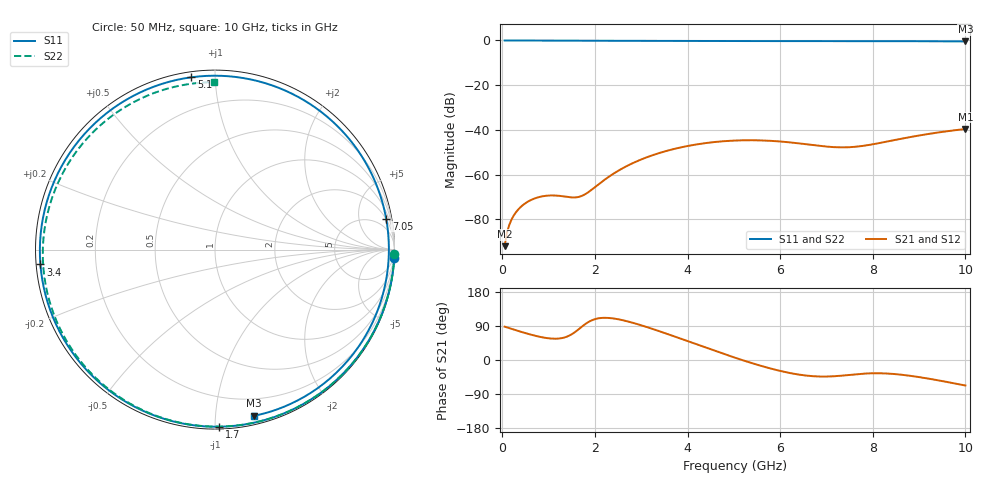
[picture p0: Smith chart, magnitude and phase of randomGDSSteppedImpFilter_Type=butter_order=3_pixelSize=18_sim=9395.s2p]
! freq	dB(S11)	phase(S11)	dB(S12)	phase(S12)
!  dB(S21)	phase(S21)	dB(S22)	phase(S22)
!S-par simulation data
#  GHz  S  DB  R 50
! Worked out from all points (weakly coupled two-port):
!   200 points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, 50 MHz to 10 GHz, reference 50 ohm
!   highest |S21| = -39.57 dB at 10 GHz (marker M1); lowest = -91.9 dB at 50 MHz (marker M2)
!   lowest |S11| = -0.4 dB at 10 GHz (marker M3), VSWR 40.16, Z = 3.23 - j63.1 ohm
!   |S11| at or under -10 dB: nowhere
!   |S22| runs from -0.6 to 0.0 dB; largest |S21 - S12| = 0
!   S11 on the Smith chart (normalised r, x): 50 MHz: 0, -43; 1.7 GHz: 0.01, -1.02; 3.4 GHz: 0.01, -0.04; 5.1 GHz: 0.03, +0.87; 7.05 GHz: 2, +11; 10 GHz: 0.06, -1.26
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0.05  -0.00 -2.7  -91.93 88.0  -91.93 88.0  -0.00 -1.4
0.2  -0.02 -10.6  -80.01 82.2  -80.01 82.2  -0.01 -5.5
0.4  -0.03 -21.2  -74.37 74.6  -74.37 74.6  -0.02 -10.9
0.75  -0.05 -39.6  -70.25 62.8  -70.25 62.8  -0.03 -20.3
1.25  -0.08 -65.6  -69.48 57.1  -69.48 57.1  -0.04 -33.7
1.7  -0.11 -88.7  -69.61 86.2  -69.61 86.2  -0.06 -45.6
1.75  -0.12 -91.3  -69.15 91.0  -69.15 91.0  -0.06 -46.9
2.5  -0.16 -129.4  -58.28 107.6  -58.28 107.6  -0.09 -66.2
2.95  -0.18 -152.2  -53.61 93.5  -53.61 93.5  -0.10 -77.5
3.4  -0.21 -175.2  -50.25 75.6  -50.25 75.6  -0.12 -88.7
3.75  -0.23 166.9  -48.28 60.7  -48.28 60.7  -0.13 -97.2
4.15  -0.24 146.3  -46.61 43.3  -46.61 43.3  -0.15 -106.9
4.6  -0.26 123.2  -45.36 23.8  -45.36 23.8  -0.17 -117.8
5.05  -0.27 100.3  -44.71 5.0  -44.71 5.0  -0.20 -128.6
5.1  -0.27 97.8  -44.67 3.0  -44.67 3.0  -0.20 -129.8
5.8  -0.28 63.8  -44.87 -22.7  -44.87 -22.7  -0.25 -146.8
6.7  -0.27 24.1  -46.73 -42.7  -46.73 -42.7  -0.32 -169.3
7.05  -0.27 10.3  -47.51 -43.5  -47.51 -43.5  -0.36 -178.4
7.65  -0.28 -11.5  -47.46 -37.5  -47.46 -37.5  -0.41 165.3
8.35  -0.30 -33.9  -45.01 -36.0  -45.01 -36.0  -0.48 144.9
9.25  -0.36 -58.7  -41.62 -50.2  -41.62 -50.2  -0.56 116.3
10  -0.43 -76.7  -39.57 -67.3  -39.57 -67.3  -0.61 90.4
